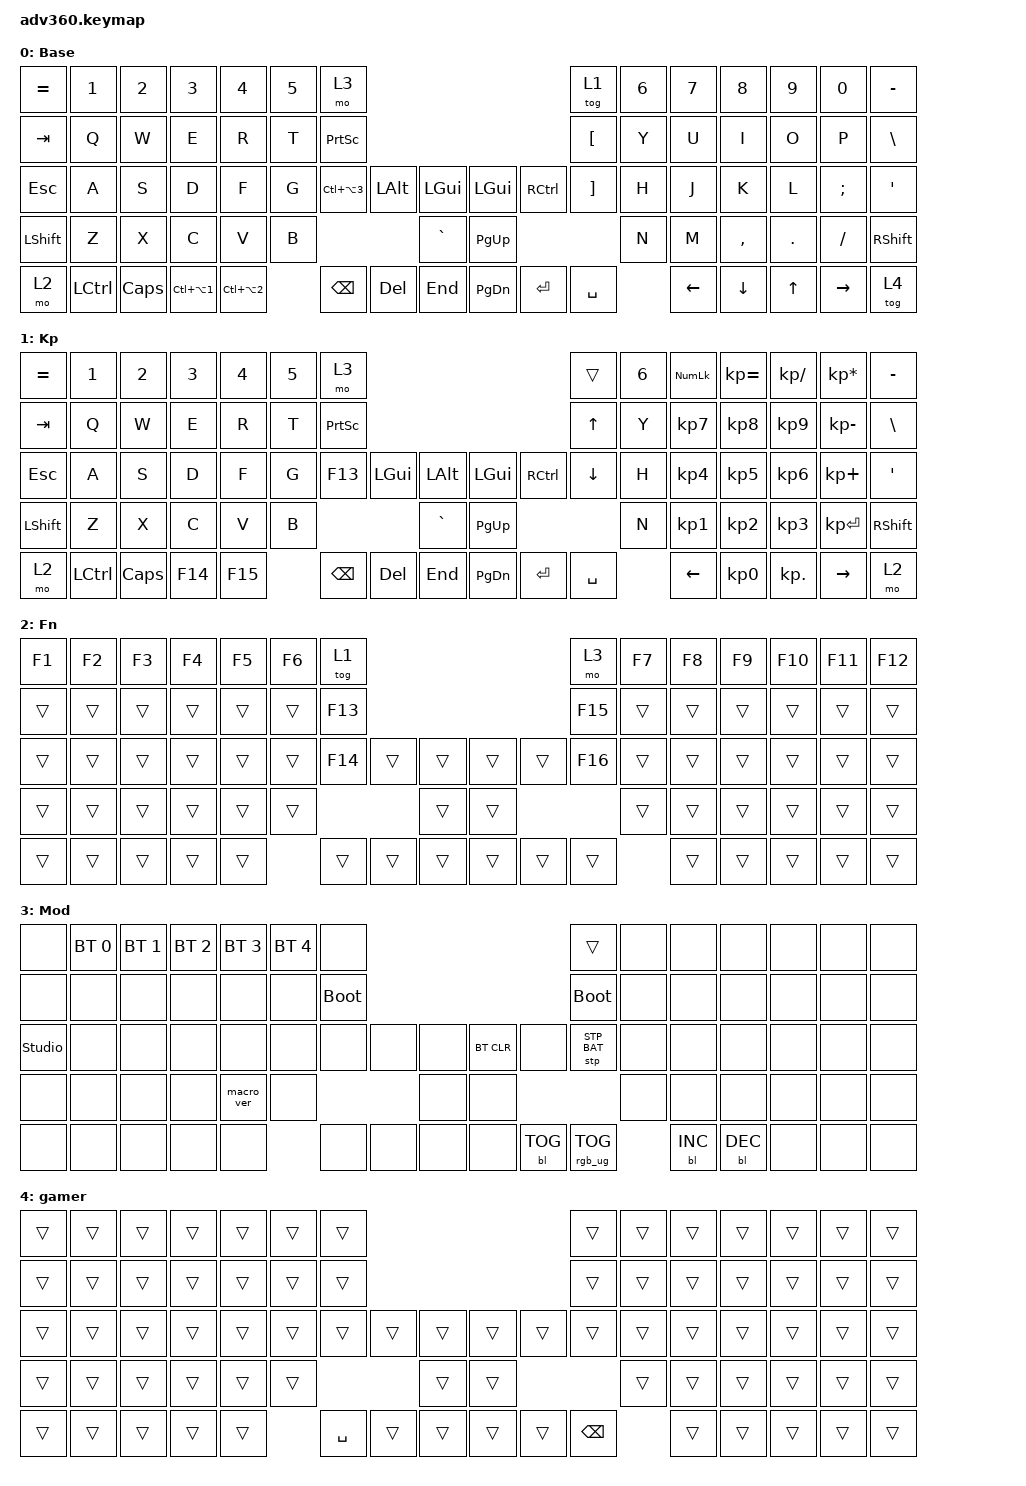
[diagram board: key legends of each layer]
#include <dt-bindings/zmk/stp.h>
#include <behaviors.dtsi>
#include <dt-bindings/zmk/backlight.h>
#include <dt-bindings/zmk/bt.h>
#include <dt-bindings/zmk/keys.h>
#include <dt-bindings/zmk/rgb.h>

/ {
    behaviors {
        #include "macros.dtsi"
      #include "version.dtsi"

        hm: homerow_mods {
            compatible = "zmk,behavior-hold-tap";
            label = "HOMEROW_MODS";
            #binding-cells = <2>;
            tapping-term-ms = <200>;
            quick_tap_ms = <175>;
            flavor = "tap-preferred";
            bindings = <&kp>, <&kp>;
        };
    };

    keymap {
        compatible = "zmk,keymap";

        default_layer {
            display-name = "Base";
            bindings = <
&kp EQUAL  &kp N1            &kp N2    &kp N3                &kp N4                &kp N5  &mo 3                                                                    &tog 1             &kp N6  &kp N7    &kp N8     &kp N9        &kp N0           &kp MINUS
&kp TAB    &kp Q             &kp W     &kp E                 &kp R                 &kp T   &kp PRINTSCREEN                                                          &kp LEFT_BRACKET   &kp Y   &kp U     &kp I      &kp O         &kp P            &kp BSLH
&kp ESC    &kp A             &kp S     &kp D                 &kp F                 &kp G   &kp LC(LA(NUMBER_3))  &kp LEFT_ALT  &kp LGUI       &kp LGUI   &kp RCTRL  &kp RIGHT_BRACKET  &kp H   &kp J     &kp K      &kp L         &kp SEMI         &kp SQT
&kp LSHFT  &kp Z             &kp X     &kp C                 &kp V                 &kp B                                       &kp GRAVE      &kp PG_UP                                &kp N   &kp M     &kp COMMA  &kp DOT       &kp FSLH         &kp RSHFT
&mo 2      &kp LEFT_CONTROL  &kp CAPS  &kp LC(LA(NUMBER_1))  &kp LC(LA(NUMBER_2))          &kp BACKSPACE         &kp DEL       &kp END        &kp PG_DN  &kp ENTER  &kp SPACE                  &kp LEFT  &kp DOWN   &kp UP_ARROW  &kp RIGHT_ARROW  &tog 4
            >;
        };

        keypad {
            display-name = "Kp";
            bindings = <
&kp EQUAL  &kp N1            &kp N2    &kp N3   &kp N4   &kp N5  &mo 3                                                           &trans          &kp N6  &kp KP_NUM  &kp KP_EQUAL     &kp KP_DIVIDE  &kp KP_MULTIPLY  &kp MINUS
&kp TAB    &kp Q             &kp W     &kp E    &kp R    &kp T   &kp PRINTSCREEN                                                 &kp UP_ARROW    &kp Y   &kp KP_N7   &kp KP_N8        &kp KP_N9      &kp KP_MINUS     &kp BSLH
&kp ESC    &kp A             &kp S     &kp D    &kp F    &kp G   &kp F13          &kp LGUI  &kp LALT       &kp LGUI   &kp RCTRL  &kp DOWN_ARROW  &kp H   &kp KP_N4   &kp KP_N5        &kp KP_N6      &kp KP_PLUS      &kp SQT
&kp LSHFT  &kp Z             &kp X     &kp C    &kp V    &kp B                              &kp GRAVE      &kp PG_UP                             &kp N   &kp KP_N1   &kp KP_N2        &kp KP_N3      &kp KP_ENTER     &kp RSHFT
&mo 2      &kp LEFT_CONTROL  &kp CAPS  &kp F14  &kp F15          &kp BSPC         &kp DEL   &kp END        &kp PG_DN  &kp ENTER  &kp SPACE               &kp LEFT    &kp KP_NUMBER_0  &kp KP_DOT     &kp RIGHT        &mo 2
            >;
        };

        fn {
            display-name = "Fn";
            bindings = <
&kp F1  &kp F2  &kp F3  &kp F4  &kp F5  &kp F6  &tog 1                                       &mo 3    &kp F7  &kp F8  &kp F9  &kp F10  &kp F11  &kp F12
&trans  &trans  &trans  &trans  &trans  &trans  &kp F13                                      &kp F15  &trans  &trans  &trans  &trans   &trans   &trans
&trans  &trans  &trans  &trans  &trans  &trans  &kp F14  &trans  &trans      &trans  &trans  &kp F16  &trans  &trans  &trans  &trans   &trans   &trans
&trans  &trans  &trans  &trans  &trans  &trans                   &trans      &trans                   &trans  &trans  &trans  &trans   &trans   &trans
&trans  &trans  &trans  &trans  &trans          &trans   &trans  &trans      &trans  &trans  &trans           &trans  &trans  &trans   &trans   &trans
            >;
        };

        mod {
            display-name = "Mod";
            bindings = <
&none           &bt BT_SEL 0  &bt BT_SEL 1  &bt BT_SEL 2  &bt BT_SEL 3  &bt BT_SEL 4  &none                                                  &trans           &none  &none       &none       &none  &none  &none
&none           &none         &none         &none         &none         &none         &bootloader                                            &bootloader      &none  &none       &none       &none  &none  &none
&studio_unlock  &none         &none         &none         &none         &none         &none        &none  &none      &bt BT_CLR  &none       &stp STP_BAT     &none  &none       &none       &none  &none  &none
&none           &none         &none         &none         &macro_ver    &none                             &none      &none                                    &none  &none       &none       &none  &none  &none
&none           &none         &none         &none         &none                       &none        &none  &none      &none       &bl BL_TOG  &rgb_ug RGB_TOG         &bl BL_INC  &bl BL_DEC  &none  &none  &none
            >;
        };

        gamer {
            bindings = <
&trans  &trans  &trans  &trans  &trans  &trans  &trans                                         &trans    &trans  &trans  &trans  &trans  &trans  &trans
&trans  &trans  &trans  &trans  &trans  &trans  &trans                                         &trans    &trans  &trans  &trans  &trans  &trans  &trans
&trans  &trans  &trans  &trans  &trans  &trans  &trans     &trans  &trans      &trans  &trans  &trans    &trans  &trans  &trans  &trans  &trans  &trans
&trans  &trans  &trans  &trans  &trans  &trans                     &trans      &trans                    &trans  &trans  &trans  &trans  &trans  &trans
&trans  &trans  &trans  &trans  &trans          &kp SPACE  &trans  &trans      &trans  &trans  &kp BSPC          &trans  &trans  &trans  &trans  &trans
            >;
        };
    };
};
